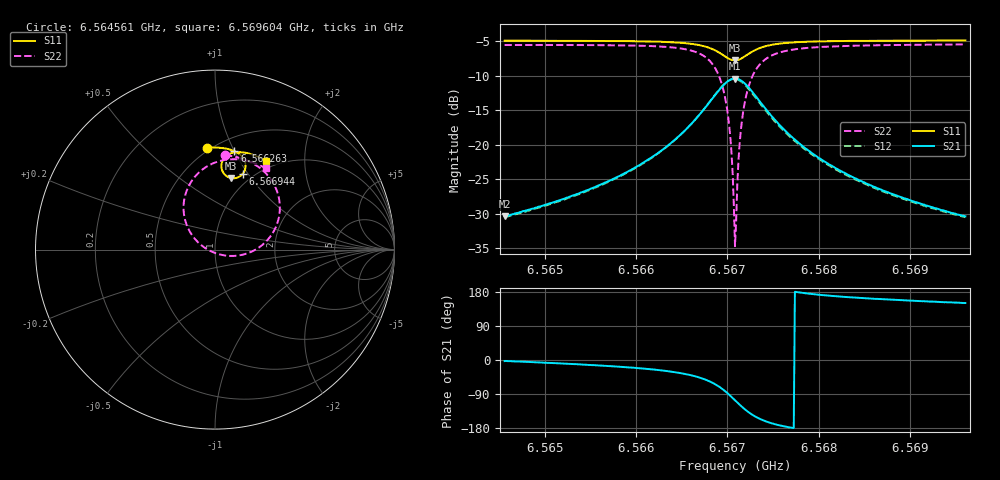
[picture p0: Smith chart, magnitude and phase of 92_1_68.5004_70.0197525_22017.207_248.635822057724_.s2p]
#  HZ  S  RI  R  50.00
! Rohde & Schwarz Vector Network Analyzer
! Rohde-Schwarz,ZNB20-2Port,1311601062101988,3.16
! Created: UTC 3/20/2024, 4:52:41 PM
! freq[Hz]  re:S11  im:S11  re:S21  im:S21  re:S12  im:S12  re:S22  im:S22
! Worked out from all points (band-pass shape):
!   401 points, 6.564561 GHz to 6.569604 GHz, reference 50 ohm
!   highest |S21| = -10.39 dB at 6.567082 GHz (marker M1); lowest = -30.4 dB at 6.564561 GHz (marker M2)
!   |S21| within 3 dB of the highest: 6.566829 GHz to 6.567334 GHz (504.9 kHz wide, 0.00769 % of centre)
!   lowest |S11| = -7.8 dB at 6.567082 GHz (marker M3), VSWR 2.38, Z = 42 + j40.2 ohm
!   |S11| at or under -10 dB: nowhere
!   |S22| runs from -34.7 to -5.4 dB; largest |S21 - S12| = 0.015
!   S11 on the Smith chart (normalised r, x): 6.564561 GHz: 0.48, +0.80; 6.566263 GHz: 0.63, +1.00; 6.566944 GHz: 0.89, +0.95; 6.569604 GHz: 0.89, +1.30
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6.5645611e9  -0.0462 0.5675  0.0301 -0.00151  0.0297 -0.00191  0.0565 0.5262
6.5654058e9  0.0241 0.5675  0.0442 -0.00936  0.0435 -0.00989  0.1401 0.5099
6.5662504e9  0.1063 0.5493  0.0786 -0.0397  0.0776 -0.0406  0.2612 0.4461
6.566263e9  0.1078 0.5486  0.0796 -0.0407  0.0783 -0.0416  0.2635 0.4439
6.5665404e9  0.1415 0.5272  0.1021 -0.0773  0.1007 -0.0788  0.324 0.3717
6.5667421e9  0.1656 0.492  0.1154 -0.139  0.1127 -0.1418  0.3609 0.2523
6.5668555e9  0.1695 0.4571  0.1037 -0.2004  0.0984 -0.2043  0.3429 0.1353
6.5669438e9  0.1554 0.4233  0.0619 -0.2581  0.0526 -0.2616  0.2657 0.0276
6.5669816e9  0.1419 0.4103  0.0304 -0.2796  0.019 -0.2814  0.2066 -0.0102
6.5670194e9  0.1238 0.401  -0.00929 -0.2934  -0.0224 -0.2927  0.1333 -0.0326
6.5670699e9  0.0949 0.3979  -0.0697 -0.2939  -0.0833 -0.2885  0.0245 -0.0266
6.5670825e9  0.0875 0.3991  -0.0847 -0.2903  -0.098 -0.2835  -0.00183 -0.0183
6.5670951e9  0.0804 0.4012  -0.0995 -0.2852  -0.1122 -0.2772  -0.0272 -0.00717
6.5671077e9  0.0736 0.4041  -0.1134 -0.2786  -0.1256 -0.2697  -0.0511 0.00639
6.5671329e9  0.0611 0.4119  -0.1387 -0.2619  -0.1493 -0.2511  -0.0933 0.0397
6.5671707e9  0.047 0.4271  -0.1683 -0.2304  -0.1757 -0.218  -0.1399 0.0994
6.5672211e9  0.037 0.4506  -0.1907 -0.184  -0.1938 -0.1713  -0.1708 0.1838
6.5672842e9  0.0367 0.4779  -0.1965 -0.1311  -0.1961 -0.1199  -0.1717 0.2769
6.5675111e9  0.0744 0.5298  -0.1507 -0.0295  -0.1473 -0.0248  -0.0685 0.4473
6.5679271e9  0.1373 0.5436  -0.0863 0.00906  -0.0841 0.0104  0.074 0.5021
6.5687718e9  0.2193 0.5254  -0.0419 0.0157  -0.041 0.016  0.206 0.4866
6.5696038e9  0.2823 0.4963  -0.0263 0.015  -0.0257 0.015  0.2831 0.4533
